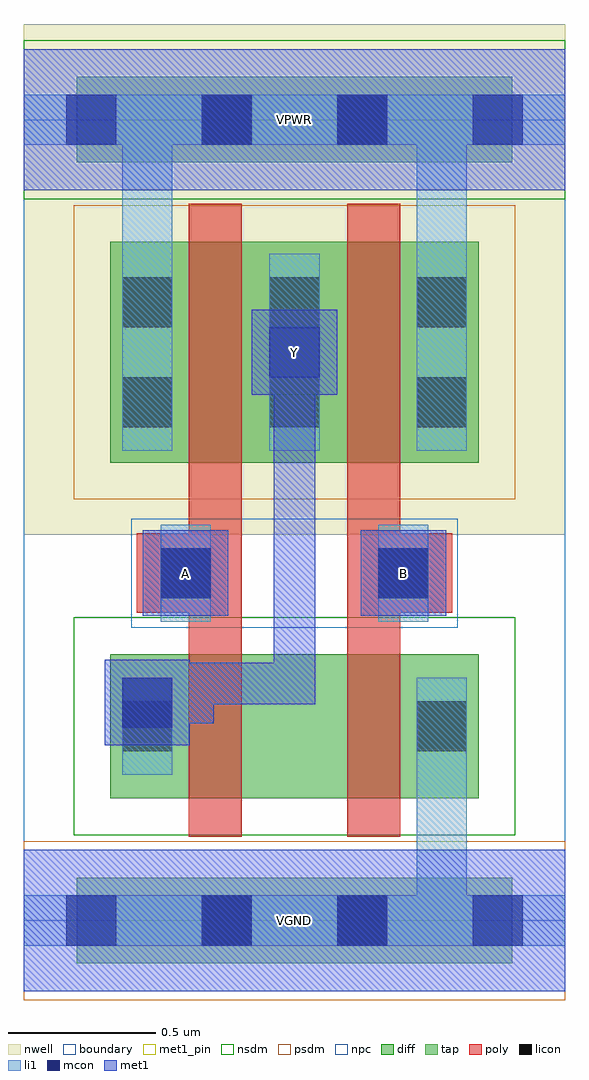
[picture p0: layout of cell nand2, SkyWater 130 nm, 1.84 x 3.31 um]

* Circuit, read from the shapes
.subckt nand2 A B VGND VPWR Y
XM1 n1 A Y VGND sky130_fd_pr__nfet_01v8 w=0.49 l=0.18
XM2 VGND B n1 VGND sky130_fd_pr__nfet_01v8 w=0.49 l=0.18
XM3 Y A VPWR VPWR sky130_fd_pr__pfet_01v8 w=0.75 l=0.18
XM4 VPWR B Y VPWR sky130_fd_pr__pfet_01v8 w=0.75 l=0.18
.ends

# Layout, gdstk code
import gdstk
lib = gdstk.Library(unit=1e-6, precision=1e-09)
def R(c, l, rs):  # rectangles x0, y0, x1, y1
    for r in rs: c.add(gdstk.rectangle(r[:2], r[2:], *l))
def A(c, l, x, y, w, h, nx, ny, dx, dy):  # array of equal rectangles
    R(c, l, [(x+i*dx, y+j*dy, x+i*dx+w, y+j*dy+h) for i in range(nx) for j in range(ny)])
nwell = (64, 20)
diff = (65, 20)
tap = (65, 44)
poly = (66, 20)
licon = (66, 44)
li1 = (67, 20)
mcon = (67, 44)
met1_pin = (68, 16)
met1 = (68, 20)
nsdm = (93, 44)
psdm = (94, 20)
npc = (95, 20)
boundary = (235, 4)

nand2 = lib.new_cell('nand2')
R(nand2, nwell, [(0,1.31,1.84,3.045)])
R(nand2, diff, [(0.295,0.415,1.545,0.905), (0.295,1.555,1.545,2.305)])
R(nand2, tap, [(0.18,-0.145,1.66,0.145), (0.18,2.575,1.66,2.865)])
R(nand2, poly, [(0.56,0.285,0.74,2.435), (1.1,0.285,1.28,2.435), (0.385,1.045,0.715,1.315), (1.125,1.045,1.455,1.315)])
A(nand2, licon, 0.335, 1.675, 0.17, 0.17, 3, 2, 0.5, 0.34)
R(nand2, licon, [(0.605,-0.085,0.775,0.085), (1.065,-0.085,1.235,0.085), (0.335,0.575,0.505,0.745), (1.335,0.575,1.505,0.745), (0.465,1.095,0.635,1.265), (1.205,1.095,1.375,1.265), (0.605,2.635,0.775,2.805), (1.065,2.635,1.235,2.805)])
A(nand2, li1, 0.335, 1.595, 0.17, 0.67, 3, 1, 0.5, 0)
R(nand2, li1, [(0,-0.085,1.84,0.085), (1.335,-0.085,1.505,0.825), (0.335,0.495,0.505,0.825), (1.335,0.495,1.505,0.825), (0.465,1.015,0.635,1.345), (1.205,1.015,1.375,1.345), (0.335,1.595,0.505,2.805), (1.335,1.595,1.505,2.805), (0,2.635,1.84,2.805)])
A(nand2, mcon, 0.145, -0.085, 0.17, 0.17, 4, 2, 0.46, 2.72)
R(nand2, mcon, [(0.335,0.655,0.505,0.825), (0.465,1.095,0.635,1.265), (1.205,1.095,1.375,1.265), (0.835,1.845,1.005,2.015)])
R(nand2, met1_pin, [(0,-0.24,1.84,0.24), (0.405,1.035,0.695,1.325), (1.145,1.035,1.435,1.325), (0.775,1.785,1.065,2.075), (0,2.48,1.84,2.96)])
R(nand2, met1, [(0,-0.24,1.84,0.24), (0.275,0.595,0.565,0.885), (0.35,0.67,0.645,0.81), (0.505,0.67,0.645,0.875), (0.505,0.735,0.99,0.875), (0.85,0.735,0.99,2.025), (0.405,1.035,0.695,1.325), (1.145,1.035,1.435,1.325), (0.775,1.785,1.065,2.075), (0.85,1.885,0.99,2.025), (0,2.48,1.84,2.96)])
R(nand2, nsdm, [(0.17,0.29,1.67,1.03), (0,2.45,1.84,2.99)])
R(nand2, psdm, [(0,-0.27,1.84,0.27), (0.17,1.43,1.67,2.43)])
R(nand2, npc, [(0.365,0.995,1.475,1.365)])
R(nand2, boundary, [(0,0,1.84,2.72)])
nand2.add(gdstk.Label('A', (0.55,1.18), layer=68, texttype=5))
nand2.add(gdstk.Label('B', (1.29,1.18), layer=68, texttype=5))
nand2.add(gdstk.Label('Y', (0.92,1.93), layer=68, texttype=5))
nand2.add(gdstk.Label('VPWR', (0.92,2.72), layer=68, texttype=5))
nand2.add(gdstk.Label('VGND', (0.92,0), layer=68, texttype=5))
nand2.add(gdstk.Label('A', (0.55,1.18), layer=68, texttype=16))
nand2.add(gdstk.Label('B', (1.29,1.18), layer=68, texttype=16))
nand2.add(gdstk.Label('Y', (0.92,1.93), layer=68, texttype=16))
nand2.add(gdstk.Label('VPWR', (0.92,2.72), layer=68, texttype=16))
nand2.add(gdstk.Label('VGND', (0.92,0), layer=68, texttype=16))

lib.write_gds('nand2.gds')
